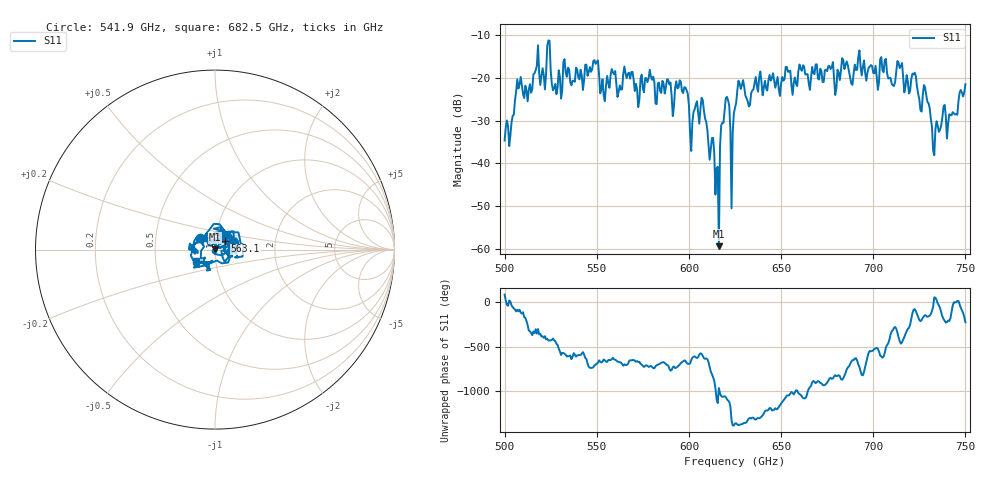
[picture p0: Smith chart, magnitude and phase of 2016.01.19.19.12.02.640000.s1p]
!Created with skrf (http://scikit-rf.org).
# GHz S RI R 50.0
!freq ReS11 ImS11
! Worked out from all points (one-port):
!   401 points, 500 GHz to 750 GHz, reference 50 ohm
!   lowest |S11| = -59.4 dB at 616.2 GHz (marker M1), VSWR 1.00, Z = 50 + j0.0988 ohm
!   |S11| at or under -10 dB: start of sweep to end of sweep
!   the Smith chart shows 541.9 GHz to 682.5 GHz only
!   S11 on the Smith chart (normalised r, x): 541.9 GHz: 0.84, +0.11; 563.1 GHz: 1.11, +0.11; 682.5 GHz: 0.80, -0.11
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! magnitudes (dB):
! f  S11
! 500 GHz  -34.6
! 507.5 GHz  -22.4
! 513.8 GHz  -21.4
! 516.9 GHz  -18.2
! 531.2 GHz  -23.0
! 541.9 GHz  -19.4
! 549.4 GHz  -16.7
! 553.1 GHz  -20.3
! 562.5 GHz  -21.7
! 563.1 GHz  -22.7
! 593.8 GHz  -22.4
! 598.8 GHz  -22.9
! 601.2 GHz  -37.1
! 607.5 GHz  -25.1
! 615 GHz  -41.1
! 616.2 GHz  -59.4
! 620 GHz  -24.7
! 623.1 GHz  -50.6
! 625 GHz  -27.0
! 628.1 GHz  -22.5
! 656.2 GHz  -23.9
! 682.5 GHz  -18.2
! 687.5 GHz  -19.9
! 714.4 GHz  -17.7
! 718.8 GHz  -20.7
! 728.8 GHz  -24.0
! 733.1 GHz  -38.1
! 750 GHz  -21.4
